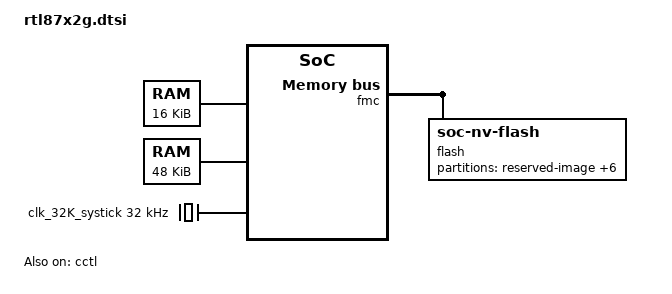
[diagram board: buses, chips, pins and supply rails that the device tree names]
/*
 * Copyright (c) 2026, Realtek Semiconductor Corporation
 *
 * SPDX-License-Identifier: Apache-2.0
 */

#include <mem.h>
#include <arm/armv8.1-m.dtsi>
#include <freq.h>
#include <dt-bindings/pinctrl/rtl87x2g-pinctrl.h>
#include <dt-bindings/clock/rtl87x2g-clocks.h>
#include <zephyr/dt-bindings/gpio/gpio.h>

/ {
	cpus {
		#address-cells = <1>;
		#size-cells = <0>;

		cpu: cpu@0 {
			device_type = "cpu";
			compatible = "arm,cortex-m55";
			reg = <0>;
		};
	};

	tcm {
		#address-cells = <1>;
		#size-cells = <1>;

		tcm_reserved0: memory@100000 {
			/* Reserved memory for realtek internal usage */
			reg = <0x100000 DT_SIZE_K(3)>;
		};

		/* 0x100c00-0x13cc00: Free space for Zephyr */
		tcm0: memory@100c00 {
			/* TCM0, used as zephyr-sram */
			reg = <0x100c00 DT_SIZE_K(100)>;
		};

		tcm1: memory@119c00 {
			/* TCM1, used as zephyr-itcm */
			compatible = "zephyr,memory-region", "arm,itcm";
			reg = <0x119c00 DT_SIZE_K(140)>;
			zephyr,memory-region = "ITCM";
		};

		tcm_reserved1: memory@13cc00 {
			/* Reserved memory for realtek internal usage */
			reg = <0x13cc00 DT_SIZE_K(77)>;
		};
	};

	ext_data_ram: memory@200000 {
		/* Extra data ram region */
		compatible = "zephyr,memory-region";
		zephyr,memory-region = "EXTRAM";
		reg = <0x200000 DT_SIZE_K(16)>;
	};

	buffer_ram: memory@280000 {
		/* Reserved memory for realtek internal usage */
		reg = <0x280000 DT_SIZE_K(48)>;
	};

	clocks {
		clk_32K_systick: clk-32K-systick {
			#clock-cells = <0>;
			compatible = "fixed-clock";
			clock-frequency = <DT_FREQ_K(32)>;
			status = "okay";
		};
	};

	soc {
		fmc: flash-controller@40022000 {
			compatible = "realtek,rtl87x2g-flash-controller";
			reg = <0x40022000 0x400>;
			#address-cells = <1>;
			#size-cells = <1>;
			status = "okay";

			flash: flash@4000000 {
				compatible = "soc-nv-flash";
				write-block-size = <1>;
				erase-block-size = <4096>;
				#address-cells = <1>;
				#size-cells = <1>;

				partitions {
					compatible = "fixed-partitions";
					#address-cells = <1>;
					#size-cells = <1>;
					ranges;

					/* 0x4000000-0x402d000 is reserved for Realtek firmwares.
					 * Do not use.
					 */
					reserved: partition@0 {
						label = "reserved-image";
						reg = <0x0 DT_SIZE_K(4)>;
					};

					config_file: partition@1000 {
						label = "config-file-image";
						reg = <0x1000 DT_SIZE_K(4)>;
					};

					boot_patch_0: partition@2000 {
						label = "boot-patch-0-image";
						reg = <0x2000 DT_SIZE_K(32)>;
					};

					boot_patch_1: partition@a000 {
						label = "boot-patch-1-image";
						reg = <0xa000 DT_SIZE_K(32)>;
					};

					ota_header: partition@12000 {
						label = "ota-header-image";
						reg = <0x12000 DT_SIZE_K(4)>;
					};

					system_patch: partition@13000 {
						label = "system-patch-image";
						reg = <0x13000 DT_SIZE_K(32)>;
					};

					stack_patch: partition@1b000 {
						label = "stack-patch-image";
						reg = <0x1b000 DT_SIZE_K(72)>;
					};
				};
			};
		};

		cctl: clock-controller@40002300 {
			compatible = "realtek,bee-cctl";
			reg = <0x40002300 0x400>;
			#clock-cells = <1>;
			status = "okay";
		};

		pinctrl: pin-controller@40002500 {
			compatible = "realtek,bee-pinctrl";
			reg = <0x40002500 0x864>;
		};

		gpioa: gpio@40030000 {
			compatible = "realtek,bee-gpio";
			gpio-controller;
			#gpio-cells = <2>;
			reg = <0x40030000 0x64>;
			clocks = <&cctl APB_CLK(GPIOA)>;
			interrupts = <9 0>, <10 0>, <11 0>, <12 0>, <13 0>, <14 0>;
			status = "disabled";
		};

		gpiob: gpio@40030800 {
			compatible = "realtek,bee-gpio";
			gpio-controller;
			#gpio-cells = <2>;
			reg = <0x40030800 0x64>;
			clocks = <&cctl APB_CLK(GPIOB)>;
			interrupts = <15 0>, <16 0>, <17 0>, <18 0>;
			status = "disabled";
		};

		uart0: serial@40034000 {
			compatible = "realtek,bee-uart";
			reg = <0x40034000 0x60>;
			clocks = <&cctl APB_CLK(UART0)>;
			interrupts = <34 0>;
			status = "disabled";
		};

		/* uart1 is reserved for realtek bee internal log system. */
		uart1: serial@40034400 {
			compatible = "realtek,bee-uart";
			reg = <0x40034400 0x60>;
			clocks = <&cctl APB_CLK(UART1)>;
			interrupts = <35 0>;
			status = "disabled";
		};

		uart2: serial@40034800 {
			compatible = "realtek,bee-uart";
			reg = <0x40034800 0x60>;
			clocks = <&cctl APB_CLK(UART2)>;
			interrupts = <36 0>;
			status = "disabled";
		};

		uart3: serial@40034c00 {
			compatible = "realtek,bee-uart";
			reg = <0x40034c00 0x60>;
			clocks = <&cctl APB_CLK(UART3)>;
			interrupts = <37 0>;
			status = "disabled";
		};

		uart4: serial@40035000 {
			compatible = "realtek,bee-uart";
			reg = <0x40035000 0x60>;
			clocks = <&cctl APB_CLK(UART4)>;
			interrupts = <38 0>;
			status = "disabled";
		};

		uart5: serial@40035400 {
			compatible = "realtek,bee-uart";
			reg = <0x40035400 0x60>;
			clocks = <&cctl APB_CLK(UART5)>;
			interrupts = <39 0>;
			status = "disabled";
		};
	};
};

&nvic {
	arm,num-irq-priority-bits = <3>;
};

&systick {
	external-clock-source;
};
